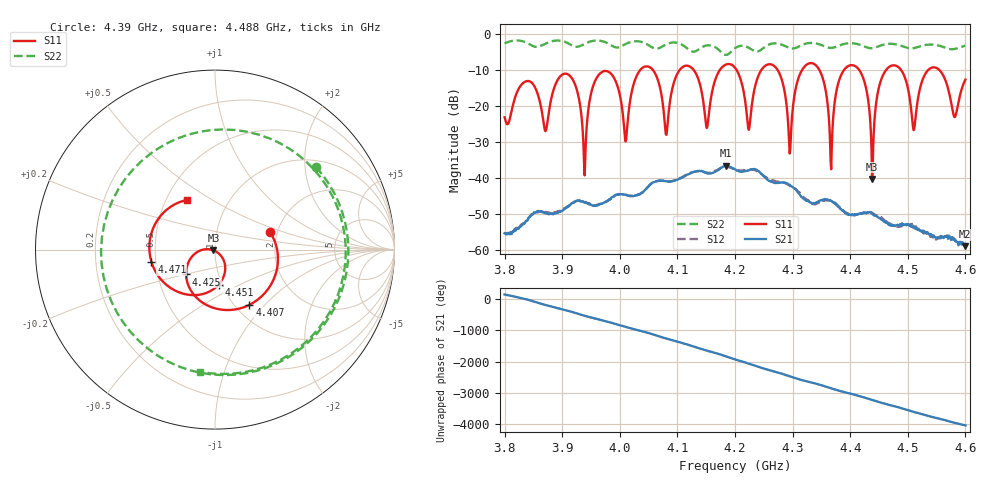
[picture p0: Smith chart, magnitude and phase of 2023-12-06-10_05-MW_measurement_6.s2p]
!Created with skrf (http://scikit-rf.org).
# Hz S RI R 50.0
!freq ReS11 ImS11 ReS21 ImS21 ReS12 ImS12 ReS22 ImS22
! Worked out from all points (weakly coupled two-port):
!   801 points, 3.8 GHz to 4.6 GHz, reference 50 ohm
!   highest |S21| = -36.57 dB at 4.184 GHz (marker M1); lowest = -59.0 dB at 4.599 GHz (marker M2)
!   lowest |S11| = -40.3 dB at 4.438 GHz (marker M3), VSWR 1.02, Z = 49.1 - j0.375 ohm
!   |S11| at or under -10 dB: start of sweep to 4.036 GHz; 4.057 GHz to 4.104 GHz (46.63 MHz wide, 1.14 % of centre); 4.416 GHz to 4.462 GHz (46.85 MHz wide, 1.06 % of centre) (the widest 3 of 9)
!   |S22| runs from -5.8 to -1.8 dB; largest |S21 - S12| = 0.0016
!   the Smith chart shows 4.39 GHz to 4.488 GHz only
!   S11 on the Smith chart (normalised r, x): 4.39 GHz: 1.83, +0.39; 4.407 GHz: 1.16, -0.82; 4.425 GHz: 0.70, -0.20; 4.451 GHz: 0.96, -0.39; 4.471 GHz: 0.47, -0.07; 4.488 GHz: 0.63, +0.39
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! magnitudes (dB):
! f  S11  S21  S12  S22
! 3.8 GHz  -23.2  -55.4  -55.2  -2.6
! 3.906 GHz  -11.0  -48.4  -48.3  -2.3
! 3.934 GHz  -23.7  -46.4  -46.4  -3.2
! 4.067 GHz  -13.2  -40.8  -40.8  -4.0
! 4.151 GHz  -26.1  -38.7  -38.5  -3.2
! 4.184 GHz  -8.5  -36.6  -36.8  -5.8
! 4.2 GHz  -9.4  -37.6  -37.5  -4.0
! 4.271 GHz  -9.4  -41.4  -41.0  -2.6
! 4.295 GHz  -33.2  -41.9  -42.2  -3.9
! 4.334 GHz  -8.1  -47.2  -47.2  -2.5
! 4.367 GHz  -37.6  -46.4  -46.3  -3.9
! 4.39 GHz  -9.9  -49.5  -49.4  -2.8
! 4.407 GHz  -8.8  -50.3  -50.2  -2.6
! 4.425 GHz  -13.4  -49.6  -49.7  -3.5
! 4.438 GHz  -40.3  -49.8  -49.7  -4.0
! 4.451 GHz  -14.1  -51.1  -50.7  -3.3
! 4.467 GHz  -9.2  -52.7  -52.7  -2.7
! 4.471 GHz  -8.9  -53.0  -53.3  -2.7
! 4.488 GHz  -9.9  -53.3  -53.3  -3.3
! 4.51 GHz  -26.7  -53.3  -53.2  -4.0
! 4.599 GHz  -13.0  -59.0  -58.4  -3.3
! 4.6 GHz  -12.7  -58.4  -58.4  -3.2
